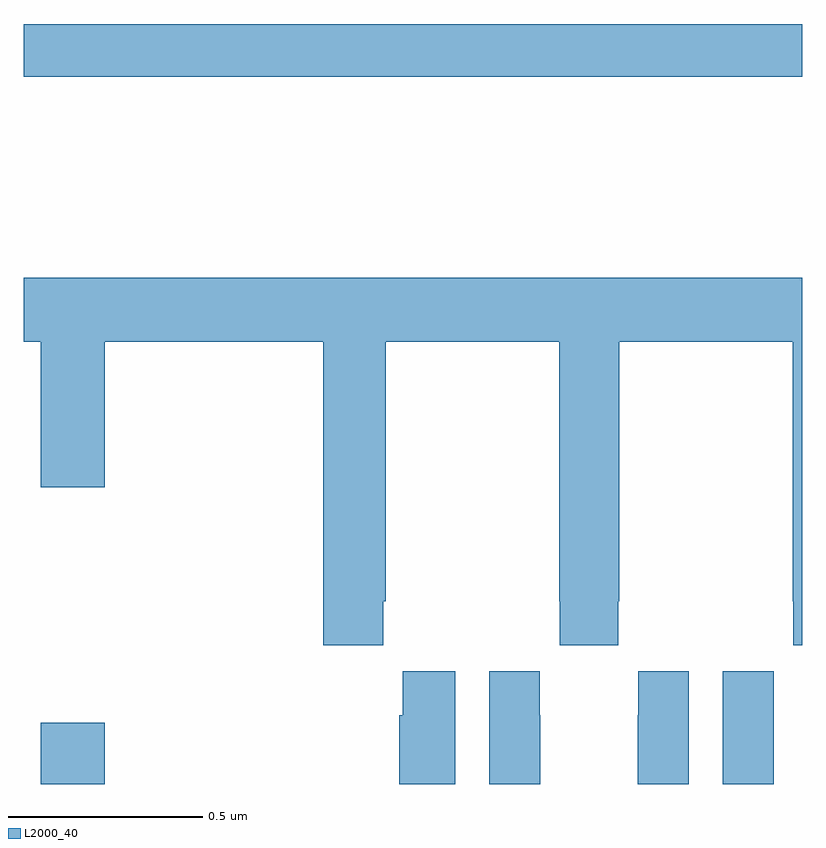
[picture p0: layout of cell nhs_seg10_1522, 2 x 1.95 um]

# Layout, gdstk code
import gdstk
lib = gdstk.Library(unit=1e-6, precision=1e-09)
def R(c, l, rs):  # rectangles x0, y0, x1, y1
    for r in rs: c.add(gdstk.rectangle(r[:2], r[2:], *l))
def P(c, l, *ps):  # polygons
    for p in ps: c.add(gdstk.Polygon(p, *l))
L2000_40 = (2000, 40)

nhs_seg10_1522 = lib.new_cell('nhs_seg10_1522')
R(nhs_seg10_1522, L2000_40, [(129.044,1312.5,129.208,1312.657), (129,1314.316,131,1314.452)])
P(nhs_seg10_1522, L2000_40, [(129.923,1312.969),(129.93,1312.969),(129.93,1313.636),(130.375,1313.636),(130.375,1312.969),(130.377,1312.969),(130.377,1312.857),(130.527,1312.857),(130.527,1312.969),(130.53,1312.969),(130.53,1313.636),(130.975,1313.636),(130.975,1312.969),(130.977,1312.969),(130.977,1312.857),(131,1312.857),(131,1313.8),(129,1313.8),(129,1313.636),(129.044,1313.636),(129.044,1313.262),(129.208,1313.262),(129.208,1313.636),(129.77,1313.636),(129.77,1312.857),(129.923,1312.857)],
  [(130.108,1312.789),(129.974,1312.789),(129.974,1312.676),(129.965,1312.676),(129.965,1312.5),(130.108,1312.5)],
  [(130.327,1312.676),(130.326,1312.676),(130.326,1312.789),(130.196,1312.789),(130.196,1312.5),(130.327,1312.5)],
  [(130.708,1312.789),(130.578,1312.789),(130.578,1312.676),(130.577,1312.676),(130.577,1312.5),(130.708,1312.5)],
  [(130.927,1312.676),(130.926,1312.676),(130.926,1312.789),(130.796,1312.789),(130.796,1312.5),(130.927,1312.5)])

lib.write_gds('nhs_seg10_1522.gds')
